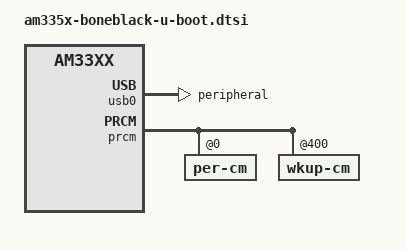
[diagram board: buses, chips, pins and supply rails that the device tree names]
// SPDX-License-Identifier: GPL-2.0+
/*
 * Copyright (C) 2017 Texas Instruments Incorporated - http://www.ti.com/
 */

#include "am33xx-u-boot.dtsi"

/ {
	chosen {
		stdout-path = &uart0;
	};
};

&l4_per {

	segment@300000 {

		target-module@e000 {
			u-boot,dm-pre-reloc;

			lcdc: lcdc@0 {
				u-boot,dm-pre-reloc;
			};
		};
	};
};

&uart0 {
	u-boot,dm-spl;
};

&uart0_pins {
	u-boot,dm-spl;
};

&i2c0 {
	u-boot,dm-spl;
};

&i2c0_pins {
	u-boot,dm-spl;
};

&mmc1 {
	u-boot,dm-spl;
};

&mmc1_pins {
	u-boot,dm-spl;
};

&mmc3 {
	status = "disabled";
};

&usb0 {
	dr_mode = "peripheral";
};

&l4_wkup {
	u-boot,dm-spl;
	segment@200000 {
		u-boot,dm-spl;
		target-module@0 {
			u-boot,dm-spl;
		};
		target-module@9000 {
			u-boot,dm-spl;
		};
	};

};

&am33xx_pinmux {
	u-boot,dm-spl;
};

&scm {
	u-boot,dm-spl;
};

&prcm {
	u-boot,dm-spl;
	per-cm@0 {
		u-boot,dm-spl;
	};
	wkup-cm@400 {
		u-boot,dm-spl;
	};
};

&l4_wkup_clkctrl {
	u-boot,dm-spl;
};

&l3_clkctrl {
	u-boot,dm-spl;
};

&prcm_clocks {
	u-boot,dm-spl;
};

&timer1_fck {
	u-boot,dm-spl;
};

&am33xx_pinmux {
	u-boot,dm-spl;
};

&scm {
	u-boot,dm-spl;
};
